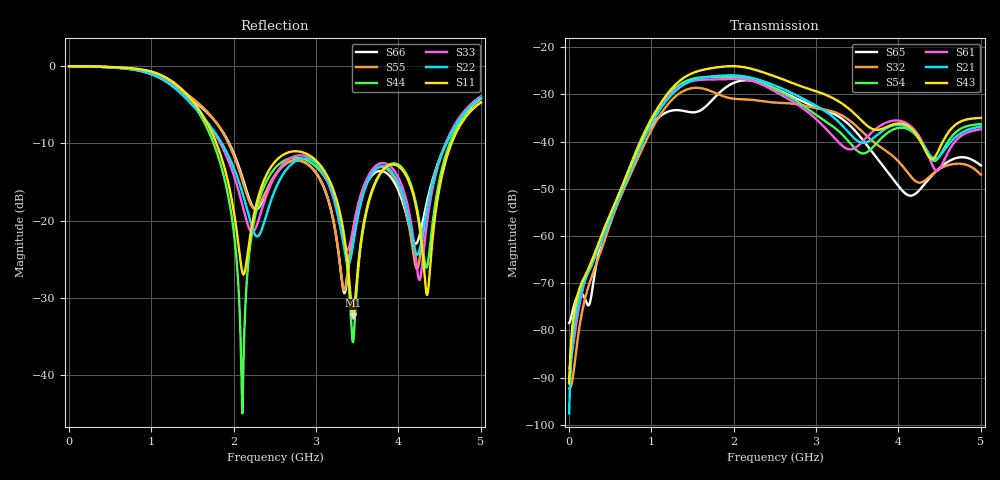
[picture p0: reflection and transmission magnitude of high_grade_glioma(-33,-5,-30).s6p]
! TOUCHSTONE file generated by CST MICROWAVE STUDIO
! Date and time: Tue Apr 28 10:27:40 2026
! Project name: UWB_patch_small+voxel_ARRAY _tumor.cst
! Parameters = {Lg_partial=9.8; R=26.6; SL=63; SW=63; extx=4; h=1.6; scale=0.7; wf=3; xl=31.5; yc1=4.9; yc2=4.9; yl=45.5}
! Header version: 2015
! Port assignment regex: !\s*Touchstone port\s*([0-9]+)\s*=\s*CST MWS port\s*([0-9]+)\s*\(\"(.*)\"\)(\s*mode\s*([0-9]+))?.*
! Touchstone port assignment:
! Touchstone port 1 = CST MWS port 1 ("")
! Touchstone port 2 = CST MWS port 2 ("")
! Touchstone port 3 = CST MWS port 3 ("")
! Touchstone port 4 = CST MWS port 4 ("")
! Touchstone port 5 = CST MWS port 5 ("")
! Touchstone port 6 = CST MWS port 6 ("")
# GHz S MA R 50
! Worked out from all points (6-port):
!   1000 points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, 5 MHz to 5 GHz, reference 50 ohm
!   strongest paths, dB at 5 MHz, 1.255 GHz, 2.505 GHz, 3.755 GHz, 5 GHz:
!     S43: -91.2, -28.7, -26.2, -37.5, -35.0
!     S21: -97.6, -29.9, -28.2, -38.4, -36.9
!     S61: -87.9, -29.6, -29.4, -37.0, -37.4
!     S54: -91.2, -29.2, -28.9, -40.0, -36.3
!     S32: -92.3, -31.1, -31.8, -40.8, -47.0
!     S65: -78.4, -33.4, -28.8, -43.9, -45.1
!   lowest |S11| = -32.3 dB at 3.45 GHz (marker M1), VSWR 1.05, Z = 49.1 - j2.22 ohm
!   |S11| at or under -10 dB: 1.792 GHz to 4.644 GHz (2.852 GHz wide, 88.6 % of centre)
